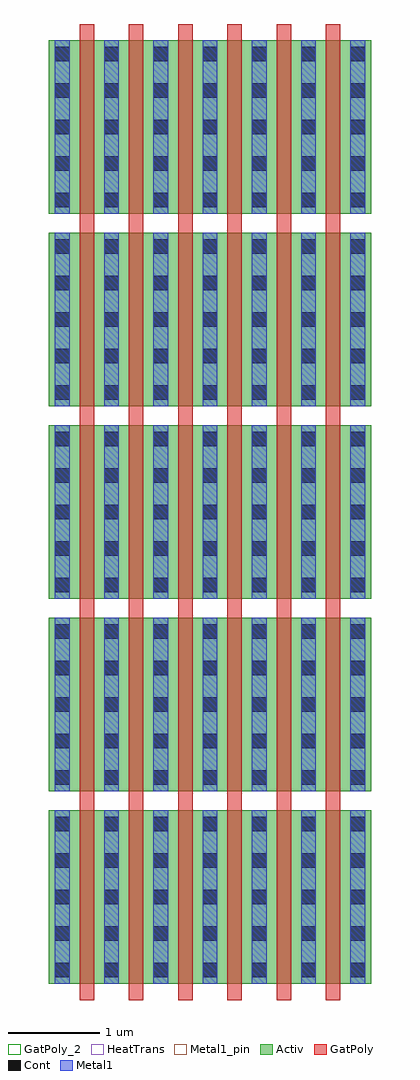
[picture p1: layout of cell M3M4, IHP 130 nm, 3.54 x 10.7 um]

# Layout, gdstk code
import gdstk
lib = gdstk.Library(unit=1e-6, precision=1e-09)
def R(c, l, rs):  # rectangles x0, y0, x1, y1
    for r in rs: c.add(gdstk.rectangle(r[:2], r[2:], *l))
def A(c, l, x, y, w, h, nx, ny, dx, dy):  # array of equal rectangles
    R(c, l, [(x+i*dx, y+j*dy, x+i*dx+w, y+j*dy+h) for i in range(nx) for j in range(ny)])
Activ = (1, 0)
GatPoly = (5, 0)
GatPoly_2 = (5, 2)
Cont = (6, 0)
Metal1 = (8, 0)
Metal1_pin = (8, 2)
HeatTrans = (51, 0)

nmos_2 = lib.new_cell('nmos$2')
R(nmos_2, Activ, [(0,0,0.3,0.3), (0,0,0.84,1.9), (0.54,0,0.84,0.3)])
R(nmos_2, GatPoly, [(0.34,-0.18,0.5,2.08)])
R(nmos_2, GatPoly_2, [(0.34,-0.18,0.5,2.08)])
A(nmos_2, Cont, 0.07, 0.07, 0.16, 0.16, 1, 5, 0, 0.4)
A(nmos_2, Cont, 0.61, 0.07, 0.16, 0.16, 1, 5, 0, 0.4)
R(nmos_2, Metal1, [(0.07,0,0.23,1.9), (0.61,0,0.77,1.9)])
R(nmos_2, Metal1_pin, [(0.07,0,0.23,1.9), (0.61,0,0.77,1.9)])
R(nmos_2, HeatTrans, [(0.34,-0.18,0.5,2.08)])
nmos_2.add(gdstk.Label('nmos', (0.42,0.95), layer=63, texttype=0))
nmos_2.add(gdstk.Label('nmos', (0.42,0.95), layer=51, texttype=0))

m3m4 = lib.new_cell('M3M4')
r = gdstk.Reference(nmos_2, (-0.395,-0.12)); r.repetition = gdstk.Repetition(6, 5, v1=(0.54,0), v2=(0,2.11)); m3m4.add(r)

lib.write_gds('M3M4.gds')
